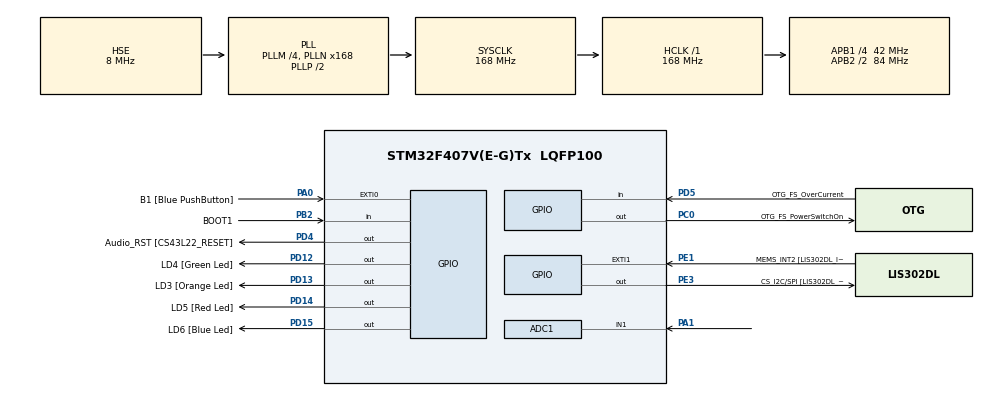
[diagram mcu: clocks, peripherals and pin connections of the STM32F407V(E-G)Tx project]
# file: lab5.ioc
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ADC1.Channel-0\#ChannelRegularConversion=ADC_CHANNEL_1
ADC1.ContinuousConvMode=DISABLE
ADC1.DMAContinuousRequests=ENABLE
ADC1.ExternalTrigConv=ADC_EXTERNALTRIGCONV_T3_TRGO
ADC1.NbrOfConversionFlag=1
ADC1.Rank-0\#ChannelRegularConversion=1
ADC1.SamplingTime-0\#ChannelRegularConversion=ADC_SAMPLETIME_3CYCLES
ADC1.master=1
Dma.ADC1.0.Direction=DMA_PERIPH_TO_MEMORY
Dma.ADC1.0.FIFOMode=DMA_FIFOMODE_DISABLE
Dma.ADC1.0.Instance=DMA2_Stream0
Dma.ADC1.0.MemDataAlignment=DMA_MDATAALIGN_HALFWORD
Dma.ADC1.0.MemInc=DMA_MINC_ENABLE
Dma.ADC1.0.Mode=DMA_CIRCULAR
Dma.ADC1.0.PeriphDataAlignment=DMA_PDATAALIGN_HALFWORD
Dma.ADC1.0.PeriphInc=DMA_PINC_DISABLE
Dma.ADC1.0.Priority=DMA_PRIORITY_LOW
Dma.Request0=ADC1
Mcu.Family=STM32F4
Mcu.Name=STM32F407V(E-G)Tx
Mcu.Package=LQFP100
NVIC.ADC_IRQn=true\:0\:0\:false\:false\:true\:true\:true\:true
NVIC.DMA2_Stream0_IRQn=true\:0\:0\:false\:false\:true\:false\:true\:true
NVIC.PriorityGroup=NVIC_PRIORITYGROUP_0
PA0-WKUP.GPIO_Label=B1 [Blue PushButton]
PA0-WKUP.Signal=GPXTI0
PA1.Signal=ADCx_IN1
PA10.GPIO_Label=OTG_FS_ID
PA10.GPIO_Mode=GPIO_MODE_AF_PP
PA10.GPIO_PuPd=GPIO_NOPULL
PA10.GPIO_Speed=GPIO_SPEED_FREQ_LOW
PA10.Signal=USB_OTG_FS_ID
PA11.GPIO_Label=OTG_FS_DM
PA11.GPIO_Mode=GPIO_MODE_AF_PP
PA11.GPIO_PuPd=GPIO_NOPULL
PA11.GPIO_Speed=GPIO_SPEED_FREQ_LOW
PA11.Signal=USB_OTG_FS_DM
PA12.GPIO_Label=OTG_FS_DP
PA12.GPIO_Mode=GPIO_MODE_AF_PP
PA12.GPIO_PuPd=GPIO_NOPULL
PA12.GPIO_Speed=GPIO_SPEED_FREQ_LOW
PA12.Signal=USB_OTG_FS_DP
PA13.GPIO_Label=SWDIO
PA13.Signal=SYS_JTMS-SWDIO
PA14.GPIO_Label=SWCLK
PA14.Signal=SYS_JTCK-SWCLK
PA4.GPIO_Label=I2S3_WS [CS43L22_LRCK]
PA4.GPIO_Mode=GPIO_MODE_AF_PP
PA4.GPIO_PuPd=GPIO_NOPULL
PA4.GPIO_Speed=GPIO_SPEED_FREQ_LOW
PA4.Signal=I2S3_WS
PA5.GPIO_Label=SPI1_SCK [LIS302DL_SCL/SPC]
PA5.GPIO_Mode=GPIO_MODE_AF_PP
PA5.GPIO_PuPd=GPIO_NOPULL
PA5.GPIO_Speed=GPIO_SPEED_FREQ_LOW
PA5.Signal=SPI1_SCK
PA6.GPIO_Label=SPI1_MISO [LIS302DL_SDO]
PA6.GPIO_Mode=GPIO_MODE_AF_PP
PA6.GPIO_PuPd=GPIO_NOPULL
PA6.GPIO_Speed=GPIO_SPEED_FREQ_LOW
PA6.Signal=SPI1_MISO
PA7.GPIO_Label=SPI1_MOSI [LIS302DL_SDA/SDI/SDO]
PA7.GPIO_Mode=GPIO_MODE_AF_PP
PA7.GPIO_PuPd=GPIO_NOPULL
PA7.GPIO_Speed=GPIO_SPEED_FREQ_LOW
PA7.Signal=SPI1_MOSI
PA9.GPIO_Label=VBUS_FS
PA9.GPIO_Mode=GPIO_MODE_INPUT
PA9.GPIO_PuPd=GPIO_NOPULL
PA9.Signal=USB_OTG_FS_VBUS
PB10.GPIO_Label=CLK_IN [MP45DT02_CLK]
PB10.GPIO_Mode=GPIO_MODE_AF_PP
PB10.GPIO_PuPd=GPIO_NOPULL
PB10.GPIO_Speed=GPIO_SPEED_FREQ_LOW
PB10.Signal=I2S2_CK
PB2.GPIO_Label=BOOT1
PB2.GPIO_Mode=GPIO_MODE_INPUT
PB2.GPIO_PuPd=GPIO_NOPULL
PB2.Signal=GPIO_Input
PB3.GPIO_Label=SWO
PB3.Signal=SYS_JTDO-SWO
PB6.GPIO_Label=Audio_SCL [CS43L22_SCL]
PB6.GPIO_Mode=GPIO_MODE_AF_OD
PB6.GPIO_PuPd=GPIO_NOPULL
PB6.GPIO_Speed=GPIO_SPEED_FREQ_LOW
PB6.Signal=I2C1_SCL
PB9.GPIO_Label=Audio_SDA [CS43L22_SDA]
PB9.GPIO_Mode=GPIO_MODE_AF_OD
PB9.GPIO_PuPd=GPIO_NOPULL
PB9.GPIO_Speed=GPIO_SPEED_FREQ_LOW
PB9.Signal=I2C1_SDA
PC0.GPIO_Label=OTG_FS_PowerSwitchOn
PC0.GPIO_PuPd=GPIO_NOPULL
PC0.GPIO_Speed=GPIO_SPEED_FREQ_LOW
PC0.PinState=GPIO_PIN_SET
PC0.Signal=GPIO_Output
PC10.GPIO_Label=I2S3_SCK [CS43L22_SCLK]
PC10.GPIO_Mode=GPIO_MODE_AF_PP
PC10.GPIO_PuPd=GPIO_NOPULL
PC10.GPIO_Speed=GPIO_SPEED_FREQ_LOW
PC10.Signal=I2S3_CK
PC12.GPIO_Label=I2S3_SD [CS43L22_SDIN]
PC12.GPIO_Mode=GPIO_MODE_AF_PP
PC12.GPIO_PuPd=GPIO_NOPULL
PC12.GPIO_Speed=GPIO_SPEED_FREQ_LOW
PC12.Signal=I2S3_SD
PC14-OSC32_IN.GPIO_Label=PC14-OSC32_IN
PC14-OSC32_IN.Signal=RCC_OSC32_IN
PC15-OSC32_OUT.GPIO_Label=PC15-OSC32_OUT
PC15-OSC32_OUT.Signal=RCC_OSC32_OUT
PC3.GPIO_Label=PDM_OUT [MP45DT02_DOUT]
PC3.GPIO_Mode=GPIO_MODE_AF_PP
PC3.GPIO_PuPd=GPIO_NOPULL
PC3.GPIO_Speed=GPIO_SPEED_FREQ_LOW
PC3.Signal=I2S2_SD
PC7.GPIO_Label=I2S3_MCK [CS43L22_MCLK]
PC7.GPIO_Mode=GPIO_MODE_AF_PP
PC7.GPIO_PuPd=GPIO_NOPULL
PC7.GPIO_Speed=GPIO_SPEED_FREQ_LOW
PC7.Signal=I2S3_MCK
PD12.GPIO_Label=LD4 [Green Led]
PD12.GPIO_PuPd=GPIO_NOPULL
PD12.GPIO_Speed=GPIO_SPEED_FREQ_LOW
PD12.Signal=GPIO_Output
PD13.GPIO_Label=LD3 [Orange Led]
PD13.GPIO_PuPd=GPIO_NOPULL
PD13.GPIO_Speed=GPIO_SPEED_FREQ_LOW
PD13.Signal=GPIO_Output
PD14.GPIO_Label=LD5 [Red Led]
PD14.GPIO_PuPd=GPIO_NOPULL
PD14.GPIO_Speed=GPIO_SPEED_FREQ_LOW
PD14.Signal=GPIO_Output
PD15.GPIO_Label=LD6 [Blue Led]
PD15.GPIO_PuPd=GPIO_NOPULL
PD15.GPIO_Speed=GPIO_SPEED_FREQ_LOW
PD15.Signal=GPIO_Output
PD4.GPIO_Label=Audio_RST [CS43L22_RESET]
PD4.GPIO_PuPd=GPIO_NOPULL
PD4.GPIO_Speed=GPIO_SPEED_FREQ_LOW
PD4.Signal=GPIO_Output
PD5.GPIO_Label=OTG_FS_OverCurrent
PD5.GPIO_Mode=GPIO_MODE_INPUT
PD5.GPIO_PuPd=GPIO_NOPULL
PD5.Signal=GPIO_Input
PE1.GPIO_Label=MEMS_INT2 [LIS302DL_INT2]
PE1.GPIO_ModeDefaultEXTI=GPIO_MODE_EVT_RISING
PE1.GPIO_PuPd=GPIO_NOPULL
PE1.Signal=GPXTI1
PE3.GPIO_Label=CS_I2C/SPI [LIS302DL_CS_I2C/SPI]
PE3.GPIO_PuPd=GPIO_NOPULL
PE3.GPIO_Speed=GPIO_SPEED_FREQ_LOW
PE3.Signal=GPIO_Output
PH0-OSC_IN.GPIO_Label=PH0-OSC_IN
PH0-OSC_IN.Mode=HSE-External-Oscillator
PH0-OSC_IN.Signal=RCC_OSC_IN
PH1-OSC_OUT.GPIO_Label=PH1-OSC_OUT
PH1-OSC_OUT.Mode=HSE-External-Oscillator
PH1-OSC_OUT.Signal=RCC_OSC_OUT
ProjectManager.HeapSize=0x200
ProjectManager.StackSize=0x400
ProjectManager.TargetToolchain=STM32CubeIDE
RCC.48MHZClocksFreq_Value=48000000
RCC.AHBFreq_Value=168000000
RCC.APB1CLKDivider=RCC_HCLK_DIV4
RCC.APB1Freq_Value=42000000
RCC.APB1TimFreq_Value=84000000
RCC.APB2CLKDivider=RCC_HCLK_DIV2
RCC.APB2Freq_Value=84000000
RCC.APB2TimFreq_Value=168000000
RCC.CortexFreq_Value=168000000
RCC.HCLKFreq_Value=168000000
RCC.HSE_VALUE=8000000
RCC.HSI_VALUE=16000000
RCC.LSE_VALUE=32768
RCC.PLLM=4
RCC.PLLN=168
RCC.PLLQ=7
RCC.PLLSourceVirtual=RCC_PLLSOURCE_HSE
RCC.SYSCLKFreq_VALUE=168000000
RCC.SYSCLKSource=RCC_SYSCLKSOURCE_PLLCLK
RCC.VCOOutputFreq_Value=336000000
SH.ADCx_IN1.0=ADC1_IN1,IN1
TIM3.AutoReloadPreload=TIM_AUTORELOAD_PRELOAD_DISABLE
TIM3.Period=104
TIM3.Prescaler=0
TIM3.TIM_MasterOutputTrigger=TIM_TRGO_UPDATE
VP_TIM3_VS_ClockSourceINT.Mode=Internal
board=STM32F407G-DISC1

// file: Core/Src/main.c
/* USER CODE BEGIN Header */
/**
  ******************************************************************************
  * @file           : main.c
  * @brief          : Main program body
  ******************************************************************************
  * @attention
  *
  * Copyright (c) 2025 STMicroelectronics.
  * All rights reserved.
  *
  * This software is licensed under terms that can be found in the LICENSE file
  * in the root directory of this software component.
  * If no LICENSE file comes with this software, it is provided AS-IS.
  *
  ******************************************************************************
  */
/* USER CODE END Header */
#include "main.h"

ADC_HandleTypeDef hadc1;
DMA_HandleTypeDef hdma_adc1;

TIM_HandleTypeDef htim3;

void SystemClock_Config(void);
static void MX_GPIO_Init(void);
static void MX_DMA_Init(void);
static void MX_ADC1_Init(void);
static void MX_TIM3_Init(void);

/* USER CODE BEGIN 0 */
#define BUF_SIZE 32
uint16_t dmaBuffer[BUF_SIZE] = {0};
uint32_t values[100] = {0}; //contains samples
uint32_t data_index = 0; //0-99 for indexing the samples

void HAL_ADC_ConvHalfCpltCallback(ADC_HandleTypeDef* hadc)
{
	uint32_t val = 0; //temp val
	for(uint32_t i=0; i<BUF_SIZE/2; i++) { // run for the first half of buffer
		val += dmaBuffer[i]; //average 16 samples (half of buffer size) one dmaBuffer cell has 16bits (from ADC)!!!!
	}
	values[data_index] = val >> 2;
	data_index++;
	if (data_index >= 100) {
		data_index = 0;
	}
}

void HAL_ADC_ConvCpltCallback(ADC_HandleTypeDef* hadc)
{
	uint32_t val = 0;
	for(uint32_t i=BUF_SIZE/2; i<BUF_SIZE; i++) {
		val += dmaBuffer[i];
	}
	values[data_index] = val >> 2;
	data_index++;
	if (data_index >= 100) {
		data_index = 0;
	}
}

/* USER CODE END 0 */

int main(void)
{

  /* MCU Configuration--------------------------------------------------------*/

  /* Reset of all peripherals, Initializes the Flash interface and the Systick. */
  HAL_Init();

  /* Configure the system clock */
  SystemClock_Config();

  /* Initialize all configured peripherals */
  MX_GPIO_Init();
  MX_DMA_Init();
  MX_ADC1_Init();
  MX_TIM3_Init();
  /* USER CODE BEGIN 2 */
  HAL_Init();

  //Initiate ADC with DMA
  HAL_ADC_Start_DMA(&hadc1, (uint32_t*)dmaBuffer, BUF_SIZE);
  HAL_TIM_Base_Start(&htim3);
  /* USER CODE END 2 */

  /* Infinite loop */
  while (1)
  {

  }
}

void SystemClock_Config(void)
{
  RCC_OscInitTypeDef RCC_OscInitStruct = {0};
  RCC_ClkInitTypeDef RCC_ClkInitStruct = {0};

  /** Configure the main internal regulator output voltage
  */
  __HAL_RCC_PWR_CLK_ENABLE();
  __HAL_PWR_VOLTAGESCALING_CONFIG(PWR_REGULATOR_VOLTAGE_SCALE1);

  /** Initializes the RCC Oscillators according to the specified parameters
  * in the RCC_OscInitTypeDef structure.
  */
  RCC_OscInitStruct.OscillatorType = RCC_OSCILLATORTYPE_HSE;
  RCC_OscInitStruct.HSEState = RCC_HSE_ON;
  RCC_OscInitStruct.PLL.PLLState = RCC_PLL_ON;
  RCC_OscInitStruct.PLL.PLLSource = RCC_PLLSOURCE_HSE;
  RCC_OscInitStruct.PLL.PLLM = 4;
  RCC_OscInitStruct.PLL.PLLN = 168;
  RCC_OscInitStruct.PLL.PLLP = RCC_PLLP_DIV2;
  RCC_OscInitStruct.PLL.PLLQ = 7;
  if (HAL_RCC_OscConfig(&RCC_OscInitStruct) != HAL_OK)
  {
    Error_Handler();
  }

  /** Initializes the CPU, AHB and APB buses clocks
  */
  RCC_ClkInitStruct.ClockType = RCC_CLOCKTYPE_HCLK|RCC_CLOCKTYPE_SYSCLK
                              |RCC_CLOCKTYPE_PCLK1|RCC_CLOCKTYPE_PCLK2;
  RCC_ClkInitStruct.SYSCLKSource = RCC_SYSCLKSOURCE_PLLCLK;
  RCC_ClkInitStruct.AHBCLKDivider = RCC_SYSCLK_DIV1;
  RCC_ClkInitStruct.APB1CLKDivider = RCC_HCLK_DIV4;
  RCC_ClkInitStruct.APB2CLKDivider = RCC_HCLK_DIV2;

  if (HAL_RCC_ClockConfig(&RCC_ClkInitStruct, FLASH_LATENCY_5) != HAL_OK)
  {
    Error_Handler();
  }
}

static void MX_ADC1_Init(void)
{

  ADC_ChannelConfTypeDef sConfig = {0};

  /** Configure the global features of the ADC (Clock, Resolution, Data Alignment and number of conversion)
  */
  hadc1.Instance = ADC1;
  hadc1.Init.ClockPrescaler = ADC_CLOCK_SYNC_PCLK_DIV4;
  hadc1.Init.Resolution = ADC_RESOLUTION_12B;
  hadc1.Init.ScanConvMode = DISABLE;
  hadc1.Init.ContinuousConvMode = ENABLE;
  hadc1.Init.DiscontinuousConvMode = DISABLE;
  hadc1.Init.ExternalTrigConvEdge = ADC_EXTERNALTRIGCONVEDGE_RISING;
  hadc1.Init.ExternalTrigConv = ADC_EXTERNALTRIGCONV_T3_TRGO;
  hadc1.Init.DataAlign = ADC_DATAALIGN_RIGHT;
  hadc1.Init.NbrOfConversion = 1;
  hadc1.Init.DMAContinuousRequests = ENABLE;
  hadc1.Init.EOCSelection = ADC_EOC_SINGLE_CONV;
  if (HAL_ADC_Init(&hadc1) != HAL_OK)
  {
    Error_Handler();
  }

  /** Configure for the selected ADC regular channel its corresponding rank in the sequencer and its sample time.
  */
  sConfig.Channel = ADC_CHANNEL_1;
  sConfig.Rank = 1;
  sConfig.SamplingTime = ADC_SAMPLETIME_3CYCLES;
  if (HAL_ADC_ConfigChannel(&hadc1, &sConfig) != HAL_OK)
  {
    Error_Handler();
  }

}

static void MX_TIM3_Init(void)
{

  TIM_ClockConfigTypeDef sClockSourceConfig = {0};
  TIM_MasterConfigTypeDef sMasterConfig = {0};

  htim3.Instance = TIM3;
  htim3.Init.Prescaler = 0;
  htim3.Init.CounterMode = TIM_COUNTERMODE_UP;
  htim3.Init.Period = 104;
  htim3.Init.ClockDivision = TIM_CLOCKDIVISION_DIV1;
  htim3.Init.AutoReloadPreload = TIM_AUTORELOAD_PRELOAD_ENABLE;
  if (HAL_TIM_Base_Init(&htim3) != HAL_OK)
  {
    Error_Handler();
  }
  sClockSourceConfig.ClockSource = TIM_CLOCKSOURCE_INTERNAL;
  if (HAL_TIM_ConfigClockSource(&htim3, &sClockSourceConfig) != HAL_OK)
  {
    Error_Handler();
  }
  sMasterConfig.MasterOutputTrigger = TIM_TRGO_UPDATE;
  sMasterConfig.MasterSlaveMode = TIM_MASTERSLAVEMODE_DISABLE;
  if (HAL_TIMEx_MasterConfigSynchronization(&htim3, &sMasterConfig) != HAL_OK)
  {
    Error_Handler();
  }

}

static void MX_DMA_Init(void)
{

  /* DMA controller clock enable */
  __HAL_RCC_DMA2_CLK_ENABLE();

  /* DMA interrupt init */
  /* DMA2_Stream0_IRQn interrupt configuration */
  HAL_NVIC_SetPriority(DMA2_Stream0_IRQn, 0, 0);
  HAL_NVIC_EnableIRQ(DMA2_Stream0_IRQn);

}

static void MX_GPIO_Init(void)
{
  GPIO_InitTypeDef GPIO_InitStruct = {0};

  /* GPIO Ports Clock Enable */
  __HAL_RCC_GPIOE_CLK_ENABLE();
  __HAL_RCC_GPIOC_CLK_ENABLE();
  __HAL_RCC_GPIOH_CLK_ENABLE();
  __HAL_RCC_GPIOA_CLK_ENABLE();
  __HAL_RCC_GPIOB_CLK_ENABLE();
  __HAL_RCC_GPIOD_CLK_ENABLE();

  /*Configure GPIO pin Output Level */
  HAL_GPIO_WritePin(CS_I2C_SPI_GPIO_Port, CS_I2C_SPI_Pin, GPIO_PIN_RESET);

  /*Configure GPIO pin Output Level */
  HAL_GPIO_WritePin(OTG_FS_PowerSwitchOn_GPIO_Port, OTG_FS_PowerSwitchOn_Pin, GPIO_PIN_SET);

  /*Configure GPIO pin Output Level */
  HAL_GPIO_WritePin(GPIOD, LD4_Pin|LD3_Pin|LD5_Pin|LD6_Pin
                          |Audio_RST_Pin, GPIO_PIN_RESET);

  /*Configure GPIO pin : CS_I2C_SPI_Pin */
  GPIO_InitStruct.Pin = CS_I2C_SPI_Pin;
  GPIO_InitStruct.Mode = GPIO_MODE_OUTPUT_PP;
  GPIO_InitStruct.Pull = GPIO_NOPULL;
  GPIO_InitStruct.Speed = GPIO_SPEED_FREQ_LOW;
  HAL_GPIO_Init(CS_I2C_SPI_GPIO_Port, &GPIO_InitStruct);

  /*Configure GPIO pin : OTG_FS_PowerSwitchOn_Pin */
  GPIO_InitStruct.Pin = OTG_FS_PowerSwitchOn_Pin;
  GPIO_InitStruct.Mode = GPIO_MODE_OUTPUT_PP;
  GPIO_InitStruct.Pull = GPIO_NOPULL;
  GPIO_InitStruct.Speed = GPIO_SPEED_FREQ_LOW;
  HAL_GPIO_Init(OTG_FS_PowerSwitchOn_GPIO_Port, &GPIO_InitStruct);

  /*Configure GPIO pin : PDM_OUT_Pin */
  GPIO_InitStruct.Pin = PDM_OUT_Pin;
  GPIO_InitStruct.Mode = GPIO_MODE_AF_PP;
  GPIO_InitStruct.Pull = GPIO_NOPULL;
  GPIO_InitStruct.Speed = GPIO_SPEED_FREQ_LOW;
  GPIO_InitStruct.Alternate = GPIO_AF5_SPI2;
  HAL_GPIO_Init(PDM_OUT_GPIO_Port, &GPIO_InitStruct);

  /*Configure GPIO pin : B1_Pin */
  GPIO_InitStruct.Pin = B1_Pin;
  GPIO_InitStruct.Mode = GPIO_MODE_IT_RISING;
  GPIO_InitStruct.Pull = GPIO_NOPULL;
  HAL_GPIO_Init(B1_GPIO_Port, &GPIO_InitStruct);

  /*Configure GPIO pin : I2S3_WS_Pin */
  GPIO_InitStruct.Pin = I2S3_WS_Pin;
  GPIO_InitStruct.Mode = GPIO_MODE_AF_PP;
  GPIO_InitStruct.Pull = GPIO_NOPULL;
  GPIO_InitStruct.Speed = GPIO_SPEED_FREQ_LOW;
  GPIO_InitStruct.Alternate = GPIO_AF6_SPI3;
  HAL_GPIO_Init(I2S3_WS_GPIO_Port, &GPIO_InitStruct);

  /*Configure GPIO pins : SPI1_SCK_Pin SPI1_MISO_Pin SPI1_MOSI_Pin */
  GPIO_InitStruct.Pin = SPI1_SCK_Pin|SPI1_MISO_Pin|SPI1_MOSI_Pin;
  GPIO_InitStruct.Mode = GPIO_MODE_AF_PP;
  GPIO_InitStruct.Pull = GPIO_NOPULL;
  GPIO_InitStruct.Speed = GPIO_SPEED_FREQ_LOW;
  GPIO_InitStruct.Alternate = GPIO_AF5_SPI1;
  HAL_GPIO_Init(GPIOA, &GPIO_InitStruct);

  /*Configure GPIO pin : BOOT1_Pin */
  GPIO_InitStruct.Pin = BOOT1_Pin;
  GPIO_InitStruct.Mode = GPIO_MODE_INPUT;
  GPIO_InitStruct.Pull = GPIO_NOPULL;
  HAL_GPIO_Init(BOOT1_GPIO_Port, &GPIO_InitStruct);

  /*Configure GPIO pin : CLK_IN_Pin */
  GPIO_InitStruct.Pin = CLK_IN_Pin;
  GPIO_InitStruct.Mode = GPIO_MODE_AF_PP;
  GPIO_InitStruct.Pull = GPIO_NOPULL;
  GPIO_InitStruct.Speed = GPIO_SPEED_FREQ_LOW;
  GPIO_InitStruct.Alternate = GPIO_AF5_SPI2;
  HAL_GPIO_Init(CLK_IN_GPIO_Port, &GPIO_InitStruct);

  /*Configure GPIO pins : LD4_Pin LD3_Pin LD5_Pin LD6_Pin
                           Audio_RST_Pin */
  GPIO_InitStruct.Pin = LD4_Pin|LD3_Pin|LD5_Pin|LD6_Pin
                          |Audio_RST_Pin;
  GPIO_InitStruct.Mode = GPIO_MODE_OUTPUT_PP;
  GPIO_InitStruct.Pull = GPIO_NOPULL;
  GPIO_InitStruct.Speed = GPIO_SPEED_FREQ_LOW;
  HAL_GPIO_Init(GPIOD, &GPIO_InitStruct);

  /*Configure GPIO pins : I2S3_MCK_Pin I2S3_SCK_Pin I2S3_SD_Pin */
  GPIO_InitStruct.Pin = I2S3_MCK_Pin|I2S3_SCK_Pin|I2S3_SD_Pin;
  GPIO_InitStruct.Mode = GPIO_MODE_AF_PP;
  GPIO_InitStruct.Pull = GPIO_NOPULL;
  GPIO_InitStruct.Speed = GPIO_SPEED_FREQ_LOW;
  GPIO_InitStruct.Alternate = GPIO_AF6_SPI3;
  HAL_GPIO_Init(GPIOC, &GPIO_InitStruct);

  /*Configure GPIO pin : VBUS_FS_Pin */
  GPIO_InitStruct.Pin = VBUS_FS_Pin;
  GPIO_InitStruct.Mode = GPIO_MODE_INPUT;
  GPIO_InitStruct.Pull = GPIO_NOPULL;
  HAL_GPIO_Init(VBUS_FS_GPIO_Port, &GPIO_InitStruct);

  /*Configure GPIO pins : OTG_FS_ID_Pin OTG_FS_DM_Pin OTG_FS_DP_Pin */
  GPIO_InitStruct.Pin = OTG_FS_ID_Pin|OTG_FS_DM_Pin|OTG_FS_DP_Pin;
  GPIO_InitStruct.Mode = GPIO_MODE_AF_PP;
  GPIO_InitStruct.Pull = GPIO_NOPULL;
  GPIO_InitStruct.Speed = GPIO_SPEED_FREQ_LOW;
  GPIO_InitStruct.Alternate = GPIO_AF10_OTG_FS;
  HAL_GPIO_Init(GPIOA, &GPIO_InitStruct);

  /*Configure GPIO pin : OTG_FS_OverCurrent_Pin */
  GPIO_InitStruct.Pin = OTG_FS_OverCurrent_Pin;
  GPIO_InitStruct.Mode = GPIO_MODE_INPUT;
  GPIO_InitStruct.Pull = GPIO_NOPULL;
  HAL_GPIO_Init(OTG_FS_OverCurrent_GPIO_Port, &GPIO_InitStruct);

  /*Configure GPIO pins : Audio_SCL_Pin Audio_SDA_Pin */
  GPIO_InitStruct.Pin = Audio_SCL_Pin|Audio_SDA_Pin;
  GPIO_InitStruct.Mode = GPIO_MODE_AF_OD;
  GPIO_InitStruct.Pull = GPIO_NOPULL;
  GPIO_InitStruct.Speed = GPIO_SPEED_FREQ_LOW;
  GPIO_InitStruct.Alternate = GPIO_AF4_I2C1;
  HAL_GPIO_Init(GPIOB, &GPIO_InitStruct);

  /*Configure GPIO pin : MEMS_INT2_Pin */
  GPIO_InitStruct.Pin = MEMS_INT2_Pin;
  GPIO_InitStruct.Mode = GPIO_MODE_EVT_RISING;
  GPIO_InitStruct.Pull = GPIO_NOPULL;
  HAL_GPIO_Init(MEMS_INT2_GPIO_Port, &GPIO_InitStruct);

}

void Error_Handler(void)
{
  __disable_irq();
  while (1)
  {
  }
}
